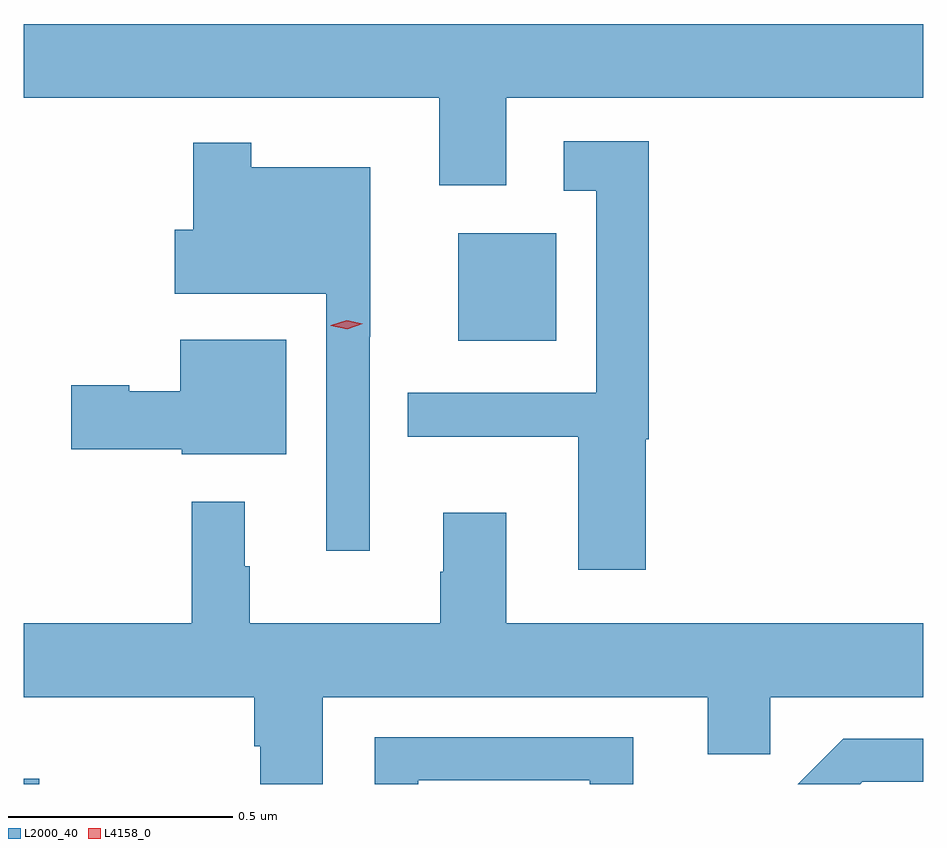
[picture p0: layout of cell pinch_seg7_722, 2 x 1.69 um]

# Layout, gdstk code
import gdstk
lib = gdstk.Library(unit=1e-6, precision=1e-09)
def R(c, l, rs):  # rectangles x0, y0, x1, y1
    for r in rs: c.add(gdstk.rectangle(r[:2], r[2:], *l))
def P(c, l, *ps):  # polygons
    for p in ps: c.add(gdstk.Polygon(p, *l))
L2000_40 = (2000, 40)
L4158_0 = (4158, 0)

pinch_seg7_722 = lib.new_cell('pinch_seg7_722')
R(pinch_seg7_722, L2000_40, [(311.972,1005.751,312.007,1005.763), (312.938,1006.736,313.156,1006.975)])
P(pinch_seg7_722, L2000_40, [(313.045,1007.276),(313.972,1007.276),(313.972,1007.44),(311.972,1007.44),(311.972,1007.276),(312.896,1007.276),(312.896,1007.082),(313.045,1007.082)],
  [(313.355,1006.517),(313.361,1006.517),(313.361,1007.179),(313.173,1007.179),(313.173,1007.069),(313.245,1007.069),(313.245,1006.62),(312.826,1006.62),(312.826,1006.523),(313.205,1006.523),(313.205,1006.227),(313.355,1006.227)],
  [(312.741,1006.745),(312.743,1006.745),(312.743,1007.122),(312.478,1007.122),(312.478,1007.176),(312.349,1007.176),(312.349,1006.983),(312.308,1006.983),(312.308,1006.841),(312.645,1006.841),(312.645,1006.269),(312.741,1006.269)],
  [(312.556,1006.738),(312.32,1006.738),(312.32,1006.624),(312.207,1006.624),(312.207,1006.637),(312.078,1006.637),(312.078,1006.495),(312.324,1006.495),(312.324,1006.484),(312.556,1006.484)],
  [(312.637,1005.944),(313.493,1005.944),(313.493,1005.817),(313.632,1005.817),(313.632,1005.944),(313.972,1005.944),(313.972,1006.108),(313.045,1006.108),(313.045,1006.354),(312.905,1006.354),(312.905,1006.223),(312.898,1006.223),(312.898,1006.108),(312.475,1006.108),(312.475,1006.235),(312.464,1006.235),(312.464,1006.378),(312.346,1006.378),(312.346,1006.108),(311.972,1006.108),(311.972,1005.944),(312.485,1005.944),(312.485,1005.835),(312.498,1005.835),(312.498,1005.751),(312.637,1005.751)],
  [(312.849,1005.759),(313.23,1005.759),(313.23,1005.751),(313.327,1005.751),(313.327,1005.855),(312.753,1005.855),(312.753,1005.751),(312.849,1005.751)],
  [(313.836,1005.756),(313.972,1005.756),(313.972,1005.852),(313.794,1005.852),(313.693,1005.751),(313.831,1005.751)])
P(pinch_seg7_722, L4158_0, [(312.691,1006.762),(312.655,1006.769),(312.655,1006.77),(312.655,1006.77),(312.69,1006.782),(312.726,1006.774),(312.726,1006.774),(312.726,1006.774)])

lib.write_gds('pinch_seg7_722.gds')
